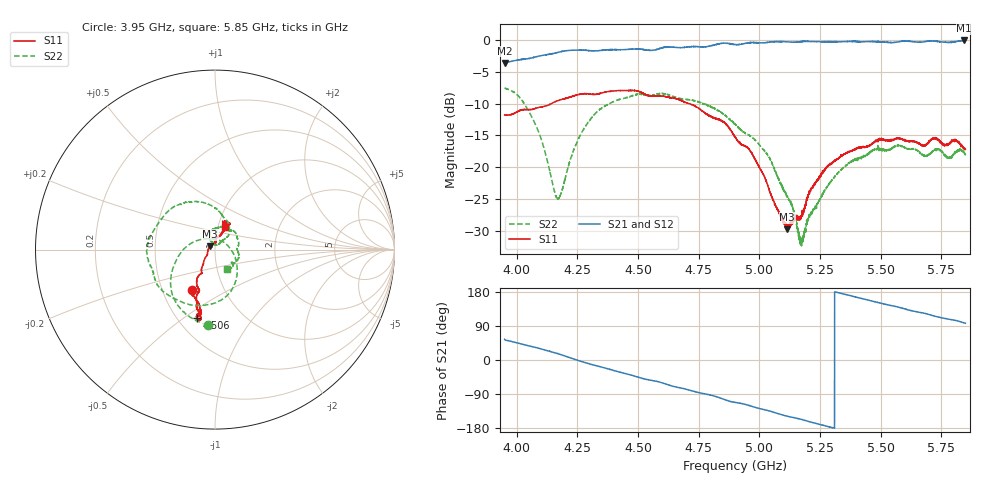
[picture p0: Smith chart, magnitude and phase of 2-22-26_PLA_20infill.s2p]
# GHZ S RI R 50.000000000000
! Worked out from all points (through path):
!   4501 points, 3.95 GHz to 5.85 GHz, reference 50 ohm
!   highest |S21| = -0.05 dB at 5.845 GHz (marker M1); lowest = -3.6 dB at 3.953 GHz (marker M2)
!   group delay of S21, straight-line fit = 465 ps
!   lowest |S11| = -29.8 dB at 5.115 GHz (marker M3), VSWR 1.07, Z = 47.3 + j1.7 ohm
!   |S11| at or under -10 dB: start of sweep to 4.143 GHz; 4.711229 GHz to 4.711309 GHz (79.37 kHz wide, 0.00168 % of centre); 4.712 GHz to end of sweep
!   |S22| runs from -32.4 to -7.5 dB; largest |S21 - S12| = 0.032
!   S11 on the Smith chart (normalised r, x): 3.95 GHz: 0.70, -0.34; 4.506 GHz: 0.62, -0.56; 5.85 GHz: 1.08, +0.28
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3.95  -0.1296 -0.2231  0.384 0.5394  0.3993 0.5108  -0.0417 -0.4204
3.952533  -0.1267 -0.2236  0.4013 0.5258  0.398 0.5127  -0.0633 -0.4132
4.040778  -0.1247 -0.2553  0.5565 0.4441  0.5635 0.4447  -0.2463 -0.1618
4.098622  -0.1053 -0.2779  0.656 0.3716  0.6578 0.3722  -0.1721 0.005
4.167867  -0.085 -0.3225  0.7649 0.2318  0.7633 0.2218  0.0099 0.0556
4.267089  -0.0852 -0.3668  0.8319 -0.0594  0.8372 -0.0506  0.1229 -0.1401
4.381933  -0.0788 -0.3862  0.7656 -0.3469  0.7581 -0.3454  -0.0625 -0.3098
4.506067  -0.1018 -0.3791  0.5866 -0.6167  0.5888 -0.6159  -0.3212 -0.1952
4.583756  -0.0823 -0.354  0.4595 -0.718  0.4592 -0.7169  -0.3748 -0.0503
4.742933  -0.1035 -0.2778  0.08 -0.8858  0.0826 -0.8845  -0.2255 0.2415
4.844689  -0.0947 -0.2132  -0.1907 -0.9242  -0.1869 -0.9303  -0.0624 0.2612
4.9  -0.0929 -0.1474  -0.3435 -0.8585  -0.3514 -0.8569  0.0182 0.2173
4.962489  -0.0754 -0.1116  -0.4914 -0.8192  -0.4854 -0.8179  0.0623 0.1646
5.029622  -0.0573 -0.0513  -0.6467 -0.708  -0.6476 -0.706  0.0803 0.1011
5.115333  -0.027 0.018  -0.8258 -0.5093  -0.8249 -0.5118  0.035 0.0467
5.171067  0.00427 0.0398  -0.8902 -0.3919  -0.8899 -0.3899  0.00443 0.025
5.217089  0.0117 0.068  -0.9401 -0.2584  -0.9433 -0.2598  -0.0142 0.0407
5.362756  0.0603 0.1155  -0.9659 0.1358  -0.9629 0.1421  -0.0233 0.1027
5.533756  0.0728 0.1441  -0.7873 0.5507  -0.7894 0.5596  0.0879 0.1061
5.711511  0.0539 0.1576  -0.4619 0.8696  -0.4602 0.8721  0.1295 -0.0184
5.844511  0.0574 0.1287  -0.138 0.9846  -0.1394 0.9858  0.0733 -0.1082
5.85  0.0545 0.1269  -0.1197 0.9845  -0.121 0.9888  0.0668 -0.1079
